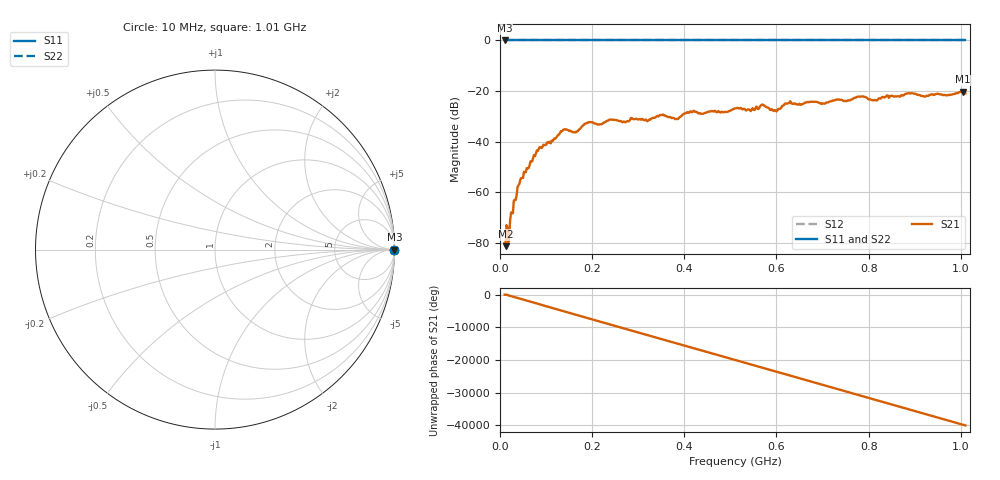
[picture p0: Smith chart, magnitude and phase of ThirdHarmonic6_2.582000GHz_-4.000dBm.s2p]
! 8/17/2025 5:28:19 AM
! C:\ANRITSUVNA\TEMP\TEMP.S2P
! CHANNEL.1
! TR.MEASUREMENT
! RAW.DATA
! RF.CORRECTION.OFF
! AVERAGING.OFF
! IF.BANDWIDTH: 5KHZ
! SWEEPTYPE:  FREQ.SWEEP(Linear)
! Reference Plane Port Info
! PORT:  PORT1  PORT2
! DISTANCE:  0  m  0  m
! TIME:  0  s  0  s
! PHASE.OFFSET:  0  deg.  0  deg.
! LOSS:  0  dB  0  dB
! REF.LOSS:  0  dB  0  dB
! REF.FREQ:  0  Hz  0  Hz
! Power Info
! POWER:  -20  dBm  -20  dBm
! EFF.POWER:  -20  dBm  -20  dBm
! SOURCE.ATTEN:  0  dB  0  dB
! TEST.ATTEN:  0  dB  0  dB
# GHZ S RI R 50.0
! FREQ.GHZ  S11RE  S11IM  S21RE  S21IM  S12RE  S12IM  S22RE  S22IM
!; PortSelection: Port_12
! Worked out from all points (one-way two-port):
!   501 points, 10 MHz to 1.01 GHz, reference 50 ohm
!   highest |S21| = -20.25 dB at 1.004 GHz (marker M1); lowest = -81.4 dB at 12 MHz (marker M2)
!   lowest |S11| = 0.0 dB at 10 MHz (marker M3)
!   |S11| at or under -10 dB: nowhere
!   |S22| runs from 0.0 to 0.0 dB; largest |S21 - S12| = 1.1
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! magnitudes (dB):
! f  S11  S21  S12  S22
! 10 MHz  0.0  -80.2  0.0  0.0
! 12 MHz  0.0  -81.4  0.0  0.0
! 22 MHz  0.0  -71.2  0.0  0.0
! 26 MHz  0.0  -68.1  0.0  0.0
! 42 MHz  0.0  -56.8  0.0  0.0
! 82 MHz  0.0  -43.8  0.0  0.0
! 136 MHz  0.0  -35.7  0.0  0.0
! 164 MHz  0.0  -36.4  0.0  0.0
! 178 MHz  0.0  -34.0  0.0  0.0
! 196 MHz  0.0  -32.3  0.0  0.0
! 344 MHz  0.0  -30.1  0.0  0.0
! 384 MHz  0.0  -31.0  0.0  0.0
! 416 MHz  0.0  -28.5  0.0  0.0
! 510 MHz  0.0  -26.9  0.0  0.0
! 548 MHz  0.0  -26.8  0.0  0.0
! 570 MHz  0.0  -25.4  0.0  0.0
! 598 MHz  0.0  -27.7  0.0  0.0
! 626 MHz  0.0  -24.9  0.0  0.0
! 678 MHz  0.0  -24.2  0.0  0.0
! 844 MHz  0.0  -22.7  0.0  0.0
! 1.004 GHz  0.0  -20.3  0.0  0.0
! 1.01 GHz  0.0  -20.9  0.0  0.0
